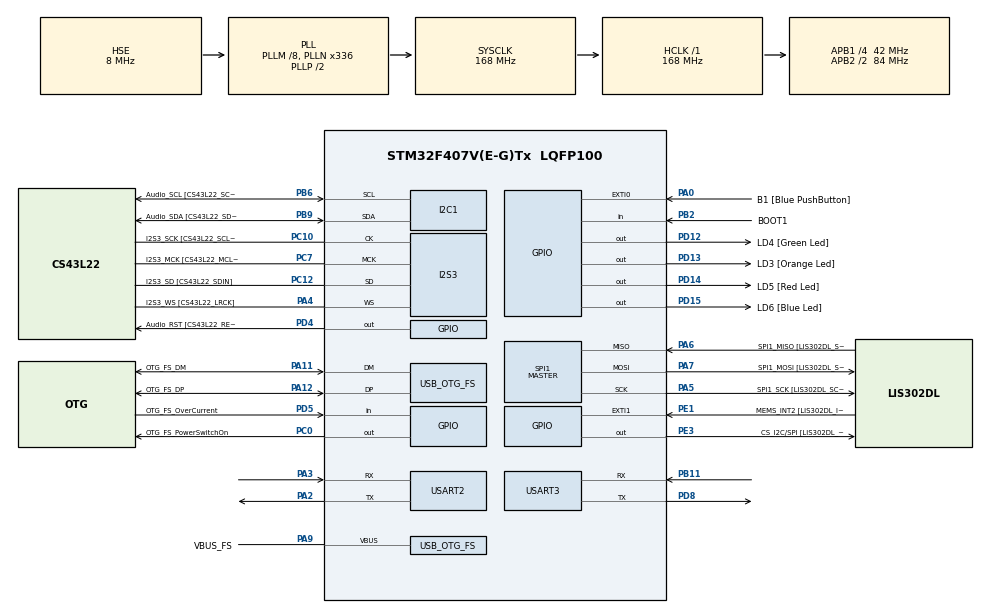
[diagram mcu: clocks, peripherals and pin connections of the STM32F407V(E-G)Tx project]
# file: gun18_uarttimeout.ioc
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I2S3.AudioFreq-Half_Duplex_Master=I2S_AUDIOFREQ_96K
I2S3.ErrorAudioFreq=-2.34 %
I2S3.ErrorAudioFreq-Half_Duplex_Master=0.8 %
I2S3.FullDuplexMode=I2S_FULLDUPLEXMODE_DISABLE
I2S3.Instance=SPI$Index
I2S3.RealAudioFreq=93.75 KHz
I2S3.RealAudioFreq-Half_Duplex_Master=96.774 KHz
I2S3.VirtualMode=I2S_MODE_MASTER
Mcu.Family=STM32F4
Mcu.Name=STM32F407V(E-G)Tx
Mcu.Package=LQFP100
NVIC.OTG_FS_IRQn=true\:0\:0\:false\:false\:true\:true\:true\:true
NVIC.PriorityGroup=NVIC_PRIORITYGROUP_0
NVIC.TIM6_DAC_IRQn=true\:0\:0\:false\:false\:true\:true\:true\:true
NVIC.TIM7_IRQn=true\:0\:0\:false\:false\:true\:true\:true\:true
NVIC.USART2_IRQn=true\:0\:0\:false\:false\:true\:true\:true\:true
PA0-WKUP.GPIO_Label=B1 [Blue PushButton]
PA0-WKUP.GPIO_ModeDefaultEXTI=GPIO_MODE_EVT_RISING
PA0-WKUP.GPIO_PuPd=GPIO_NOPULL
PA0-WKUP.Signal=GPXTI0
PA10.GPIO_Label=OTG_FS_ID
PA10.GPIO_Mode=GPIO_MODE_AF_PP
PA10.GPIO_PuPd=GPIO_NOPULL
PA10.GPIO_Speed=GPIO_SPEED_FREQ_LOW
PA10.Signal=USB_OTG_FS_ID
PA11.GPIO_Label=OTG_FS_DM
PA11.GPIO_Mode=GPIO_MODE_AF_PP
PA11.GPIO_PuPd=GPIO_NOPULL
PA11.GPIO_Speed=GPIO_SPEED_FREQ_LOW
PA11.Mode=Host_Only
PA11.Signal=USB_OTG_FS_DM
PA12.GPIO_Label=OTG_FS_DP
PA12.GPIO_Mode=GPIO_MODE_AF_PP
PA12.GPIO_PuPd=GPIO_NOPULL
PA12.GPIO_Speed=GPIO_SPEED_FREQ_LOW
PA12.Mode=Host_Only
PA12.Signal=USB_OTG_FS_DP
PA13.GPIO_Label=SWDIO
PA13.Mode=Serial_Wire
PA13.Signal=SYS_JTMS-SWDIO
PA14.GPIO_Label=SWCLK
PA14.Mode=Serial_Wire
PA14.Signal=SYS_JTCK-SWCLK
PA2.Mode=Asynchronous
PA2.Signal=USART2_TX
PA3.Mode=Asynchronous
PA3.Signal=USART2_RX
PA4.GPIO_Label=I2S3_WS [CS43L22_LRCK]
PA4.GPIO_Mode=GPIO_MODE_AF_PP
PA4.GPIO_PuPd=GPIO_NOPULL
PA4.GPIO_Speed=GPIO_SPEED_FREQ_LOW
PA4.Mode=Half_Duplex_Master
PA4.Signal=I2S3_WS
PA5.GPIO_Label=SPI1_SCK [LIS302DL_SCL/SPC]
PA5.GPIO_Mode=GPIO_MODE_AF_PP
PA5.GPIO_PuPd=GPIO_NOPULL
PA5.GPIO_Speed=GPIO_SPEED_FREQ_LOW
PA5.Mode=Full_Duplex_Master
PA5.Signal=SPI1_SCK
PA6.GPIO_Label=SPI1_MISO [LIS302DL_SDO]
PA6.GPIO_Mode=GPIO_MODE_AF_PP
PA6.GPIO_PuPd=GPIO_NOPULL
PA6.GPIO_Speed=GPIO_SPEED_FREQ_LOW
PA6.Mode=Full_Duplex_Master
PA6.Signal=SPI1_MISO
PA7.GPIO_Label=SPI1_MOSI [LIS302DL_SDA/SDI/SDO]
PA7.GPIO_Mode=GPIO_MODE_AF_PP
PA7.GPIO_PuPd=GPIO_NOPULL
PA7.GPIO_Speed=GPIO_SPEED_FREQ_LOW
PA7.Mode=Full_Duplex_Master
PA7.Signal=SPI1_MOSI
PA9.GPIO_Label=VBUS_FS
PA9.GPIO_Mode=GPIO_MODE_INPUT
PA9.GPIO_PuPd=GPIO_NOPULL
PA9.Mode=Activate_VBUS
PA9.Signal=USB_OTG_FS_VBUS
PB10.GPIO_Label=CLK_IN [MP45DT02_CLK]
PB10.GPIO_Mode=GPIO_MODE_AF_PP
PB10.GPIO_PuPd=GPIO_NOPULL
PB10.GPIO_Speed=GPIO_SPEED_FREQ_LOW
PB10.Signal=I2S2_CK
PB11.Mode=Asynchronous
PB11.Signal=USART3_RX
PB2.GPIO_Label=BOOT1
PB2.GPIO_Mode=GPIO_MODE_INPUT
PB2.GPIO_PuPd=GPIO_NOPULL
PB2.Signal=GPIO_Input
PB3.GPIO_Label=SWO
PB3.Signal=SYS_JTDO-SWO
PB6.GPIO_Label=Audio_SCL [CS43L22_SCL]
PB6.GPIO_Mode=GPIO_MODE_AF_OD
PB6.GPIO_Pu=GPIO_PULLUP
PB6.GPIO_PuPd=GPIO_NOPULL
PB6.GPIO_Speed=GPIO_SPEED_FREQ_LOW
PB6.Mode=I2C
PB6.Signal=I2C1_SCL
PB9.GPIO_Label=Audio_SDA [CS43L22_SDA]
PB9.GPIO_Mode=GPIO_MODE_AF_OD
PB9.GPIO_Pu=GPIO_PULLUP
PB9.GPIO_PuPd=GPIO_NOPULL
PB9.GPIO_Speed=GPIO_SPEED_FREQ_LOW
PB9.Mode=I2C
PB9.Signal=I2C1_SDA
PC0.GPIO_Label=OTG_FS_PowerSwitchOn
PC0.GPIO_PuPd=GPIO_NOPULL
PC0.GPIO_Speed=GPIO_SPEED_FREQ_LOW
PC0.PinState=GPIO_PIN_SET
PC0.Signal=GPIO_Output
PC10.GPIO_Label=I2S3_SCK [CS43L22_SCLK]
PC10.GPIO_Mode=GPIO_MODE_AF_PP
PC10.GPIO_PuPd=GPIO_NOPULL
PC10.GPIO_Speed=GPIO_SPEED_FREQ_LOW
PC10.Mode=Half_Duplex_Master
PC10.Signal=I2S3_CK
PC12.GPIO_Label=I2S3_SD [CS43L22_SDIN]
PC12.GPIO_Mode=GPIO_MODE_AF_PP
PC12.GPIO_PuPd=GPIO_NOPULL
PC12.GPIO_Speed=GPIO_SPEED_FREQ_LOW
PC12.Mode=Half_Duplex_Master
PC12.Signal=I2S3_SD
PC14-OSC32_IN.GPIO_Label=PC14-OSC32_IN
PC14-OSC32_IN.Mode=LSE-External-Oscillator
PC14-OSC32_IN.Signal=RCC_OSC32_IN
PC15-OSC32_OUT.GPIO_Label=PC15-OSC32_OUT
PC15-OSC32_OUT.Mode=LSE-External-Oscillator
PC15-OSC32_OUT.Signal=RCC_OSC32_OUT
PC3.GPIO_Label=PDM_OUT [MP45DT02_DOUT]
PC3.GPIO_Mode=GPIO_MODE_AF_PP
PC3.GPIO_PuPd=GPIO_NOPULL
PC3.GPIO_Speed=GPIO_SPEED_FREQ_LOW
PC3.Signal=I2S2_SD
PC7.GPIO_Label=I2S3_MCK [CS43L22_MCLK]
PC7.GPIO_Mode=GPIO_MODE_AF_PP
PC7.GPIO_PuPd=GPIO_NOPULL
PC7.GPIO_Speed=GPIO_SPEED_FREQ_LOW
PC7.Mode=Master_Clock_Activated
PC7.Signal=I2S3_MCK
PD12.GPIO_Label=LD4 [Green Led]
PD12.GPIO_PuPd=GPIO_NOPULL
PD12.GPIO_Speed=GPIO_SPEED_FREQ_LOW
PD12.Signal=GPIO_Output
PD13.GPIO_Label=LD3 [Orange Led]
PD13.GPIO_PuPd=GPIO_NOPULL
PD13.GPIO_Speed=GPIO_SPEED_FREQ_LOW
PD13.Signal=GPIO_Output
PD14.GPIO_Label=LD5 [Red Led]
PD14.GPIO_PuPd=GPIO_NOPULL
PD14.GPIO_Speed=GPIO_SPEED_FREQ_LOW
PD14.Signal=GPIO_Output
PD15.GPIO_Label=LD6 [Blue Led]
PD15.GPIO_PuPd=GPIO_NOPULL
PD15.GPIO_Speed=GPIO_SPEED_FREQ_LOW
PD15.Signal=GPIO_Output
PD4.GPIO_Label=Audio_RST [CS43L22_RESET]
PD4.GPIO_PuPd=GPIO_NOPULL
PD4.GPIO_Speed=GPIO_SPEED_FREQ_LOW
PD4.Signal=GPIO_Output
PD5.GPIO_Label=OTG_FS_OverCurrent
PD5.GPIO_Mode=GPIO_MODE_INPUT
PD5.GPIO_PuPd=GPIO_NOPULL
PD5.Signal=GPIO_Input
PD8.Mode=Asynchronous
PD8.Signal=USART3_TX
PE1.GPIO_Label=MEMS_INT2 [LIS302DL_INT2]
PE1.GPIO_ModeDefaultEXTI=GPIO_MODE_EVT_RISING
PE1.GPIO_PuPd=GPIO_NOPULL
PE1.Signal=GPXTI1
PE3.GPIO_Label=CS_I2C/SPI [LIS302DL_CS_I2C/SPI]
PE3.GPIO_PuPd=GPIO_NOPULL
PE3.GPIO_Speed=GPIO_SPEED_FREQ_LOW
PE3.Signal=GPIO_Output
PH0-OSC_IN.GPIO_Label=PH0-OSC_IN
PH0-OSC_IN.Mode=HSE-External-Oscillator
PH0-OSC_IN.Signal=RCC_OSC_IN
PH1-OSC_OUT.GPIO_Label=PH1-OSC_OUT
PH1-OSC_OUT.Mode=HSE-External-Oscillator
PH1-OSC_OUT.Signal=RCC_OSC_OUT
ProjectManager.HeapSize=0x200
ProjectManager.StackSize=0x400
ProjectManager.TargetToolchain=STM32CubeIDE
RCC.48MHZClocksFreq_Value=48000000
RCC.AHBFreq_Value=168000000
RCC.APB1CLKDivider=RCC_HCLK_DIV4
RCC.APB1Freq_Value=42000000
RCC.APB1TimFreq_Value=84000000
RCC.APB2CLKDivider=RCC_HCLK_DIV2
RCC.APB2Freq_Value=84000000
RCC.APB2TimFreq_Value=168000000
RCC.CortexFreq_Value=168000000
RCC.HCLKFreq_Value=168000000
RCC.HSE_VALUE=8000000
RCC.HSI_VALUE=16000000
RCC.PLLM=8
RCC.PLLN=336
RCC.PLLQ=7
RCC.SYSCLKFreq_VALUE=168000000
RCC.SYSCLKSource=RCC_SYSCLKSOURCE_PLLCLK
RCC.VCOOutputFreq_Value=336000000
SPI1.BaudRatePrescaler-Full_Duplex_Master=SPI_BAUDRATEPRESCALER_2
SPI1.CalculateBaudRate-Full_Duplex_Master=42.0 MBits/s
SPI1.Direction=SPI_DIRECTION_2LINES
SPI1.Mode=SPI_MODE_MASTER
SPI1.Mode-Full_Duplex_Master=SPI_MODE_MASTER
SPI1.VirtualType=VM_MASTER
TIM7.AutoReloadPreload=TIM_AUTORELOAD_PRELOAD_ENABLE
TIM7.Period=1020
TIM7.Prescaler=9
USART2.VirtualMode=VM_ASYNC
USART3.VirtualMode=VM_ASYNC
USB_HOST.BSP.number=1
USB_HOST.USBH_HandleTypeDef-CDC_FS=hUsbHostFS
USB_HOST.VirtualModeFS=Cdc
USB_HOST0.BSP.STBoard=false
USB_HOST0.BSP.api=Unknown
USB_HOST0.BSP.i2caddr=0
USB_HOST0.BSP.i2creg=0
USB_HOST0.BSP.instance=PC0
USB_HOST0.BSP.ip=GPIO
USB_HOST0.BSP.mode=Output
USB_HOST0.BSP.name=Drive_VBUS_FS
USB_HOST0.BSP.solution=PC0
USB_OTG_FS.VirtualMode=Host_Only
USB_OTG_FS.phy_itface=HCD_PHY_EMBEDDED
VP_TIM6_VS_ClockSourceINT.Mode=Enable_Timer
VP_TIM7_VS_ClockSourceINT.Mode=Enable_Timer
VP_USB_HOST_VS_USB_HOST_CDC_FS.Mode=CDC_FS
board=STM32F407G-DISC1

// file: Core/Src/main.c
/* USER CODE BEGIN Header */
/**
  ******************************************************************************
  * @file           : main.c
  * @brief          : Main program body
  ******************************************************************************
  * @attention
  *
  * Copyright (c) 2022 STMicroelectronics.
  * All rights reserved.
  *
  * This software is licensed under terms that can be found in the LICENSE file
  * in the root directory of this software component.
  * If no LICENSE file comes with this software, it is provided AS-IS.
  *
  ******************************************************************************
  */
/* USER CODE END Header */
#include "main.h"
#include "usb_host.h"

/* USER CODE BEGIN Includes */
#include "HWT901B.h"
/* USER CODE END Includes */

 I2C_HandleTypeDef hi2c1;

I2S_HandleTypeDef hi2s3;

SPI_HandleTypeDef hspi1;

TIM_HandleTypeDef htim6;
TIM_HandleTypeDef htim7;

UART_HandleTypeDef huart2;
UART_HandleTypeDef huart3;

/* USER CODE BEGIN PV */
uint8_t uart_one_byte;
uint8_t uart_lenght=0;
uint8_t rxbuf[120];
uint8_t copyrxbuf[120];
uint8_t tbuffer[100];
uint8_t flagconfigbuf=0,flagsend=0;
uint8_t txbuf[11];
uint8_t timeout=0;
uint16_t count=0;
uint8_t i=0,j=0,x=0;;
uint8_t a=0;
double b = 0,c=0,d=0,e=0;

/* USER CODE END PV */

void SystemClock_Config(void);
static void MX_GPIO_Init(void);
static void MX_I2C1_Init(void);
static void MX_I2S3_Init(void);
static void MX_SPI1_Init(void);
static void MX_USART2_UART_Init(void);
static void MX_TIM7_Init(void);
static void MX_USART3_UART_Init(void);
static void MX_TIM6_Init(void);
void MX_USB_HOST_Process(void);

/* USER CODE BEGIN 0 */
void HAL_TIM_PeriodElapsedCallback(TIM_HandleTypeDef *htim)
{
	if (htim->Instance==TIM7)
	{
		if (timeout==2)
		{
			flagconfigbuf=1;
			uart_lenght=0;
			HAL_TIM_Base_Stop_IT(&htim7);
		}
		timeout++;

	}

	if (htim->Instance==TIM6)
	{
		count++;

		if(count == 999)
		{
			flagsend = 1;
			count = 0;
		}
	}
}
void HAL_UART_RxCpltCallback(UART_HandleTypeDef *huart)
{
	if (uart_lenght==0) {
		HAL_TIM_Base_Start_IT(&htim7);
		HAL_TIM_Base_Start_IT(&htim6);
	}
	rxbuf[uart_lenght]=uart_one_byte;
	uart_lenght++;
	timeout=0;
	if(uart_lenght>111)
	{
		uart_lenght=0;
		memset(rxbuf,'\0',sizeof(rxbuf));
	}
	HAL_UART_Receive_IT(&huart2, &uart_one_byte, 1);
}
/* USER CODE END 0 */

int main(void)
{

  /* MCU Configuration--------------------------------------------------------*/

  /* Reset of all peripherals, Initializes the Flash interface and the Systick. */
  HAL_Init();

  /* Configure the system clock */
  SystemClock_Config();

  /* Initialize all configured peripherals */
  MX_GPIO_Init();
  MX_I2C1_Init();
  MX_I2S3_Init();
  MX_SPI1_Init();
  MX_USART2_UART_Init();
  MX_TIM7_Init();
  MX_USART3_UART_Init();
  MX_TIM6_Init();
  /* USER CODE BEGIN 2 */
  HAL_UART_Receive_IT(&huart2, &uart_one_byte, 1);
  /* USER CODE END 2 */

  /* Infinite loop */
  /* USER CODE BEGIN WHILE */
  while (1)
  {

	  if (flagconfigbuf==1)
	  {
		 configbuf();

	  }

	  if (flagsend==1)
	  {
		  send();
	  }

    /* USER CODE END WHILE */

  }
}

void SystemClock_Config(void)
{
  RCC_OscInitTypeDef RCC_OscInitStruct = {0};
  RCC_ClkInitTypeDef RCC_ClkInitStruct = {0};

  /** Configure the main internal regulator output voltage
  */
  __HAL_RCC_PWR_CLK_ENABLE();
  __HAL_PWR_VOLTAGESCALING_CONFIG(PWR_REGULATOR_VOLTAGE_SCALE1);

  /** Initializes the RCC Oscillators according to the specified parameters
  * in the RCC_OscInitTypeDef structure.
  */
  RCC_OscInitStruct.OscillatorType = RCC_OSCILLATORTYPE_HSE;
  RCC_OscInitStruct.HSEState = RCC_HSE_ON;
  RCC_OscInitStruct.PLL.PLLState = RCC_PLL_ON;
  RCC_OscInitStruct.PLL.PLLSource = RCC_PLLSOURCE_HSE;
  RCC_OscInitStruct.PLL.PLLM = 8;
  RCC_OscInitStruct.PLL.PLLN = 336;
  RCC_OscInitStruct.PLL.PLLP = RCC_PLLP_DIV2;
  RCC_OscInitStruct.PLL.PLLQ = 7;
  if (HAL_RCC_OscConfig(&RCC_OscInitStruct) != HAL_OK)
  {
    Error_Handler();
  }

  /** Initializes the CPU, AHB and APB buses clocks
  */
  RCC_ClkInitStruct.ClockType = RCC_CLOCKTYPE_HCLK|RCC_CLOCKTYPE_SYSCLK
                              |RCC_CLOCKTYPE_PCLK1|RCC_CLOCKTYPE_PCLK2;
  RCC_ClkInitStruct.SYSCLKSource = RCC_SYSCLKSOURCE_PLLCLK;
  RCC_ClkInitStruct.AHBCLKDivider = RCC_SYSCLK_DIV1;
  RCC_ClkInitStruct.APB1CLKDivider = RCC_HCLK_DIV4;
  RCC_ClkInitStruct.APB2CLKDivider = RCC_HCLK_DIV2;

  if (HAL_RCC_ClockConfig(&RCC_ClkInitStruct, FLASH_LATENCY_5) != HAL_OK)
  {
    Error_Handler();
  }
}

static void MX_I2C1_Init(void)
{

  hi2c1.Instance = I2C1;
  hi2c1.Init.ClockSpeed = 100000;
  hi2c1.Init.DutyCycle = I2C_DUTYCYCLE_2;
  hi2c1.Init.OwnAddress1 = 0;
  hi2c1.Init.AddressingMode = I2C_ADDRESSINGMODE_7BIT;
  hi2c1.Init.DualAddressMode = I2C_DUALADDRESS_DISABLE;
  hi2c1.Init.OwnAddress2 = 0;
  hi2c1.Init.GeneralCallMode = I2C_GENERALCALL_DISABLE;
  hi2c1.Init.NoStretchMode = I2C_NOSTRETCH_DISABLE;
  if (HAL_I2C_Init(&hi2c1) != HAL_OK)
  {
    Error_Handler();
  }

}

static void MX_I2S3_Init(void)
{

  hi2s3.Instance = SPI3;
  hi2s3.Init.Mode = I2S_MODE_MASTER_TX;
  hi2s3.Init.Standard = I2S_STANDARD_PHILIPS;
  hi2s3.Init.DataFormat = I2S_DATAFORMAT_16B;
  hi2s3.Init.MCLKOutput = I2S_MCLKOUTPUT_ENABLE;
  hi2s3.Init.AudioFreq = I2S_AUDIOFREQ_96K;
  hi2s3.Init.CPOL = I2S_CPOL_LOW;
  hi2s3.Init.ClockSource = I2S_CLOCK_PLL;
  hi2s3.Init.FullDuplexMode = I2S_FULLDUPLEXMODE_DISABLE;
  if (HAL_I2S_Init(&hi2s3) != HAL_OK)
  {
    Error_Handler();
  }

}

static void MX_SPI1_Init(void)
{

  /* SPI1 parameter configuration*/
  hspi1.Instance = SPI1;
  hspi1.Init.Mode = SPI_MODE_MASTER;
  hspi1.Init.Direction = SPI_DIRECTION_2LINES;
  hspi1.Init.DataSize = SPI_DATASIZE_8BIT;
  hspi1.Init.CLKPolarity = SPI_POLARITY_LOW;
  hspi1.Init.CLKPhase = SPI_PHASE_1EDGE;
  hspi1.Init.NSS = SPI_NSS_SOFT;
  hspi1.Init.BaudRatePrescaler = SPI_BAUDRATEPRESCALER_2;
  hspi1.Init.FirstBit = SPI_FIRSTBIT_MSB;
  hspi1.Init.TIMode = SPI_TIMODE_DISABLE;
  hspi1.Init.CRCCalculation = SPI_CRCCALCULATION_DISABLE;
  hspi1.Init.CRCPolynomial = 10;
  if (HAL_SPI_Init(&hspi1) != HAL_OK)
  {
    Error_Handler();
  }

}

static void MX_TIM6_Init(void)
{

  TIM_MasterConfigTypeDef sMasterConfig = {0};

  htim6.Instance = TIM6;
  htim6.Init.Prescaler = 0;
  htim6.Init.CounterMode = TIM_COUNTERMODE_UP;
  htim6.Init.Period = 65535;
  htim6.Init.AutoReloadPreload = TIM_AUTORELOAD_PRELOAD_DISABLE;
  if (HAL_TIM_Base_Init(&htim6) != HAL_OK)
  {
    Error_Handler();
  }
  sMasterConfig.MasterOutputTrigger = TIM_TRGO_RESET;
  sMasterConfig.MasterSlaveMode = TIM_MASTERSLAVEMODE_DISABLE;
  if (HAL_TIMEx_MasterConfigSynchronization(&htim6, &sMasterConfig) != HAL_OK)
  {
    Error_Handler();
  }

}

static void MX_TIM7_Init(void)
{

  TIM_MasterConfigTypeDef sMasterConfig = {0};

  htim7.Instance = TIM7;
  htim7.Init.Prescaler = 9;
  htim7.Init.CounterMode = TIM_COUNTERMODE_UP;
  htim7.Init.Period = 1020;
  htim7.Init.AutoReloadPreload = TIM_AUTORELOAD_PRELOAD_ENABLE;
  if (HAL_TIM_Base_Init(&htim7) != HAL_OK)
  {
    Error_Handler();
  }
  sMasterConfig.MasterOutputTrigger = TIM_TRGO_RESET;
  sMasterConfig.MasterSlaveMode = TIM_MASTERSLAVEMODE_DISABLE;
  if (HAL_TIMEx_MasterConfigSynchronization(&htim7, &sMasterConfig) != HAL_OK)
  {
    Error_Handler();
  }

}

static void MX_USART2_UART_Init(void)
{

  huart2.Instance = USART2;
  huart2.Init.BaudRate = 115200;
  huart2.Init.WordLength = UART_WORDLENGTH_8B;
  huart2.Init.StopBits = UART_STOPBITS_1;
  huart2.Init.Parity = UART_PARITY_NONE;
  huart2.Init.Mode = UART_MODE_TX_RX;
  huart2.Init.HwFlowCtl = UART_HWCONTROL_NONE;
  huart2.Init.OverSampling = UART_OVERSAMPLING_16;
  if (HAL_UART_Init(&huart2) != HAL_OK)
  {
    Error_Handler();
  }

}

static void MX_USART3_UART_Init(void)
{

  huart3.Instance = USART3;
  huart3.Init.BaudRate = 115200;
  huart3.Init.WordLength = UART_WORDLENGTH_8B;
  huart3.Init.StopBits = UART_STOPBITS_1;
  huart3.Init.Parity = UART_PARITY_NONE;
  huart3.Init.Mode = UART_MODE_TX_RX;
  huart3.Init.HwFlowCtl = UART_HWCONTROL_NONE;
  huart3.Init.OverSampling = UART_OVERSAMPLING_16;
  if (HAL_UART_Init(&huart3) != HAL_OK)
  {
    Error_Handler();
  }

}

static void MX_GPIO_Init(void)
{
  GPIO_InitTypeDef GPIO_InitStruct = {0};

  /* GPIO Ports Clock Enable */
  __HAL_RCC_GPIOE_CLK_ENABLE();
  __HAL_RCC_GPIOC_CLK_ENABLE();
  __HAL_RCC_GPIOH_CLK_ENABLE();
  __HAL_RCC_GPIOA_CLK_ENABLE();
  __HAL_RCC_GPIOB_CLK_ENABLE();
  __HAL_RCC_GPIOD_CLK_ENABLE();

  /*Configure GPIO pin Output Level */
  HAL_GPIO_WritePin(CS_I2C_SPI_GPIO_Port, CS_I2C_SPI_Pin, GPIO_PIN_RESET);

  /*Configure GPIO pin Output Level */
  HAL_GPIO_WritePin(OTG_FS_PowerSwitchOn_GPIO_Port, OTG_FS_PowerSwitchOn_Pin, GPIO_PIN_SET);

  /*Configure GPIO pin Output Level */
  HAL_GPIO_WritePin(GPIOD, LD4_Pin|LD3_Pin|LD5_Pin|LD6_Pin
                          |Audio_RST_Pin, GPIO_PIN_RESET);

  /*Configure GPIO pin : CS_I2C_SPI_Pin */
  GPIO_InitStruct.Pin = CS_I2C_SPI_Pin;
  GPIO_InitStruct.Mode = GPIO_MODE_OUTPUT_PP;
  GPIO_InitStruct.Pull = GPIO_NOPULL;
  GPIO_InitStruct.Speed = GPIO_SPEED_FREQ_LOW;
  HAL_GPIO_Init(CS_I2C_SPI_GPIO_Port, &GPIO_InitStruct);

  /*Configure GPIO pin : OTG_FS_PowerSwitchOn_Pin */
  GPIO_InitStruct.Pin = OTG_FS_PowerSwitchOn_Pin;
  GPIO_InitStruct.Mode = GPIO_MODE_OUTPUT_PP;
  GPIO_InitStruct.Pull = GPIO_NOPULL;
  GPIO_InitStruct.Speed = GPIO_SPEED_FREQ_LOW;
  HAL_GPIO_Init(OTG_FS_PowerSwitchOn_GPIO_Port, &GPIO_InitStruct);

  /*Configure GPIO pin : PDM_OUT_Pin */
  GPIO_InitStruct.Pin = PDM_OUT_Pin;
  GPIO_InitStruct.Mode = GPIO_MODE_AF_PP;
  GPIO_InitStruct.Pull = GPIO_NOPULL;
  GPIO_InitStruct.Speed = GPIO_SPEED_FREQ_LOW;
  GPIO_InitStruct.Alternate = GPIO_AF5_SPI2;
  HAL_GPIO_Init(PDM_OUT_GPIO_Port, &GPIO_InitStruct);

  /*Configure GPIO pin : B1_Pin */
  GPIO_InitStruct.Pin = B1_Pin;
  GPIO_InitStruct.Mode = GPIO_MODE_EVT_RISING;
  GPIO_InitStruct.Pull = GPIO_NOPULL;
  HAL_GPIO_Init(B1_GPIO_Port, &GPIO_InitStruct);

  /*Configure GPIO pin : BOOT1_Pin */
  GPIO_InitStruct.Pin = BOOT1_Pin;
  GPIO_InitStruct.Mode = GPIO_MODE_INPUT;
  GPIO_InitStruct.Pull = GPIO_NOPULL;
  HAL_GPIO_Init(BOOT1_GPIO_Port, &GPIO_InitStruct);

  /*Configure GPIO pin : CLK_IN_Pin */
  GPIO_InitStruct.Pin = CLK_IN_Pin;
  GPIO_InitStruct.Mode = GPIO_MODE_AF_PP;
  GPIO_InitStruct.Pull = GPIO_NOPULL;
  GPIO_InitStruct.Speed = GPIO_SPEED_FREQ_LOW;
  GPIO_InitStruct.Alternate = GPIO_AF5_SPI2;
  HAL_GPIO_Init(CLK_IN_GPIO_Port, &GPIO_InitStruct);

  /*Configure GPIO pins : LD4_Pin LD3_Pin LD5_Pin LD6_Pin
                           Audio_RST_Pin */
  GPIO_InitStruct.Pin = LD4_Pin|LD3_Pin|LD5_Pin|LD6_Pin
                          |Audio_RST_Pin;
  GPIO_InitStruct.Mode = GPIO_MODE_OUTPUT_PP;
  GPIO_InitStruct.Pull = GPIO_NOPULL;
  GPIO_InitStruct.Speed = GPIO_SPEED_FREQ_LOW;
  HAL_GPIO_Init(GPIOD, &GPIO_InitStruct);

  /*Configure GPIO pin : OTG_FS_OverCurrent_Pin */
  GPIO_InitStruct.Pin = OTG_FS_OverCurrent_Pin;
  GPIO_InitStruct.Mode = GPIO_MODE_INPUT;
  GPIO_InitStruct.Pull = GPIO_NOPULL;
  HAL_GPIO_Init(OTG_FS_OverCurrent_GPIO_Port, &GPIO_InitStruct);

  /*Configure GPIO pin : MEMS_INT2_Pin */
  GPIO_InitStruct.Pin = MEMS_INT2_Pin;
  GPIO_InitStruct.Mode = GPIO_MODE_EVT_RISING;
  GPIO_InitStruct.Pull = GPIO_NOPULL;
  HAL_GPIO_Init(MEMS_INT2_GPIO_Port, &GPIO_InitStruct);

}

void Error_Handler(void)
{
  __disable_irq();
  while (1)
  {
  }
}
